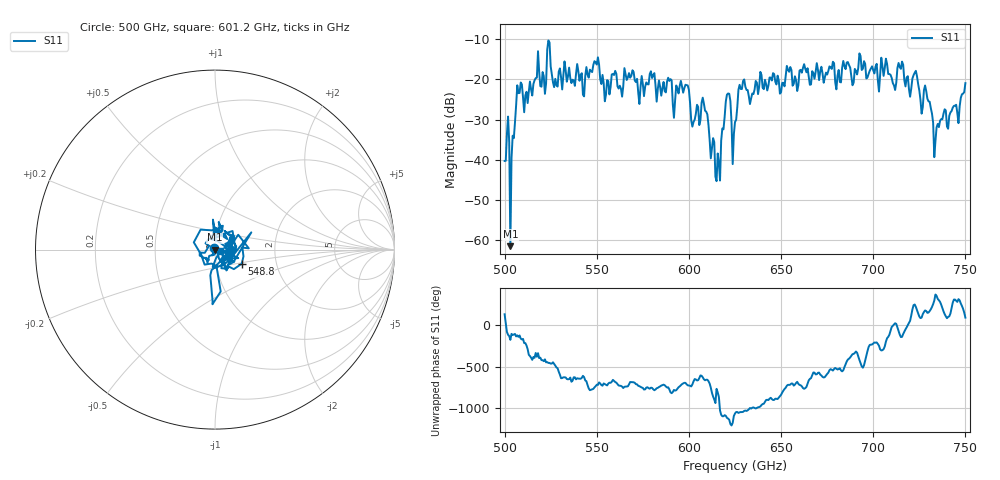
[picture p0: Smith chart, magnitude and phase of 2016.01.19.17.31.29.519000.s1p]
!Created with skrf (http://scikit-rf.org).
# GHz S RI R 50.0
!freq ReS11 ImS11
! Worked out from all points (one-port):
!   401 points, 500 GHz to 750 GHz, reference 50 ohm
!   lowest |S11| = -61.4 dB at 503.1 GHz (marker M1), VSWR 1.00, Z = 49.9 - j0.00901 ohm
!   |S11| at or under -10 dB: start of sweep to end of sweep
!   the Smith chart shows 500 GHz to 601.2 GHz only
!   S11 on the Smith chart (normalised r, x): 500 GHz: 0.99, +0.01; 548.8 GHz: 1.33, -0.22; 601.2 GHz: 1.06, -0.02
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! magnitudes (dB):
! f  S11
! 500 GHz  -40.3
! 503.1 GHz  -61.4
! 504.4 GHz  -34.0
! 505.6 GHz  -30.7
! 508.1 GHz  -23.4
! 521.2 GHz  -19.2
! 524.4 GHz  -10.8
! 527.5 GHz  -19.8
! 531.2 GHz  -22.5
! 548.8 GHz  -15.5
! 562.5 GHz  -21.6
! 580 GHz  -19.6
! 593.8 GHz  -22.3
! 598.8 GHz  -21.4
! 601.2 GHz  -30.2
! 608.8 GHz  -27.8
! 615.6 GHz  -38.4
! 621.2 GHz  -23.5
! 625 GHz  -30.6
! 628.8 GHz  -22.4
! 656.2 GHz  -21.6
! 687.5 GHz  -17.1
! 711.2 GHz  -21.5
! 715 GHz  -17.4
! 718.8 GHz  -19.2
! 728.8 GHz  -22.9
! 734.4 GHz  -31.9
! 750 GHz  -20.9
